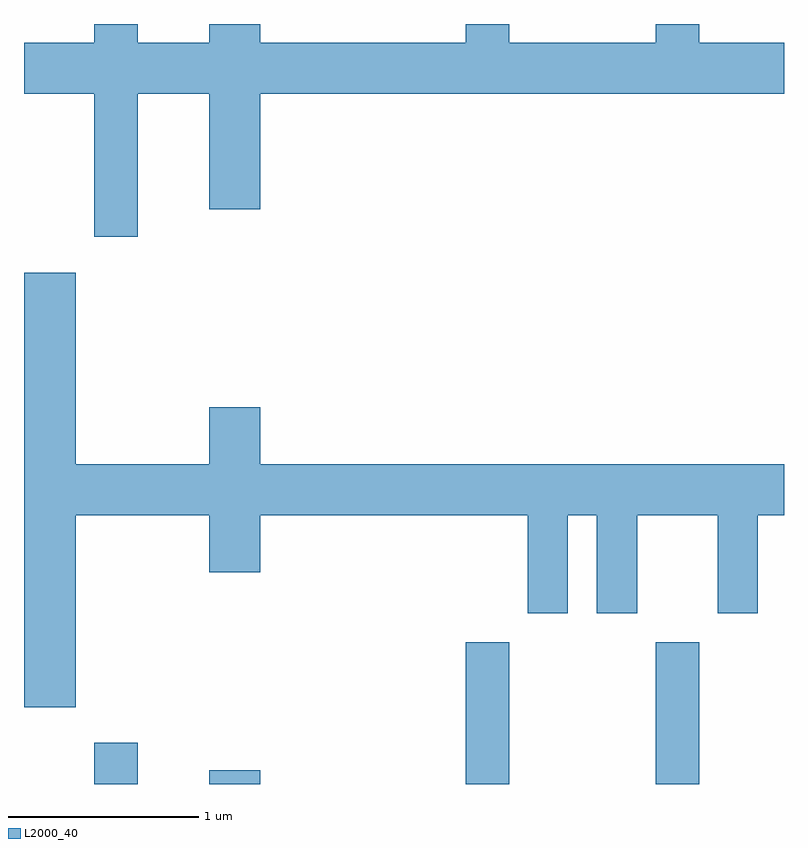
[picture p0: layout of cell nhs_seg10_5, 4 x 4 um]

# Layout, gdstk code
import gdstk
lib = gdstk.Library(unit=1e-6, precision=1e-09)
def R(c, l, rs):  # rectangles x0, y0, x1, y1
    for r in rs: c.add(gdstk.rectangle(r[:2], r[2:], *l))
def P(c, l, *ps):  # polygons
    for p in ps: c.add(gdstk.Polygon(p, *l))
L2000_40 = (2000, 40)

nhs_seg10_5 = lib.new_cell('nhs_seg10_5')
R(nhs_seg10_5, L2000_40, [(185.981,2092.522,186.209,2092.739), (186.586,2092.522,186.854,2092.594), (187.936,2092.522,188.164,2093.269), (188.936,2092.522,189.164,2093.269)])
P(nhs_seg10_5, L2000_40, [(186.209,2096.156),(186.586,2096.156),(186.586,2095.546),(186.854,2095.546),(186.854,2096.156),(189.611,2096.156),(189.611,2096.424),(189.164,2096.424),(189.164,2096.522),(188.936,2096.522),(188.936,2096.424),(188.164,2096.424),(188.164,2096.522),(187.936,2096.522),(187.936,2096.424),(186.854,2096.424),(186.854,2096.522),(186.586,2096.522),(186.586,2096.424),(186.209,2096.424),(186.209,2096.522),(185.981,2096.522),(185.981,2096.424),(185.611,2096.424),(185.611,2096.156),(185.981,2096.156),(185.981,2095.401),(186.209,2095.401)],
  [(185.884,2093.936),(186.586,2093.936),(186.586,2093.636),(186.854,2093.636),(186.854,2093.936),(188.261,2093.936),(188.261,2093.421),(188.474,2093.421),(188.474,2093.936),(188.626,2093.936),(188.626,2093.421),(188.839,2093.421),(188.839,2093.936),(189.261,2093.936),(189.261,2093.421),(189.474,2093.421),(189.474,2093.936),(189.611,2093.936),(189.611,2094.204),(186.854,2094.204),(186.854,2094.504),(186.586,2094.504),(186.586,2094.204),(185.884,2094.204),(185.884,2095.214),(185.611,2095.214),(185.611,2092.926),(185.884,2092.926)])

lib.write_gds('nhs_seg10_5.gds')
